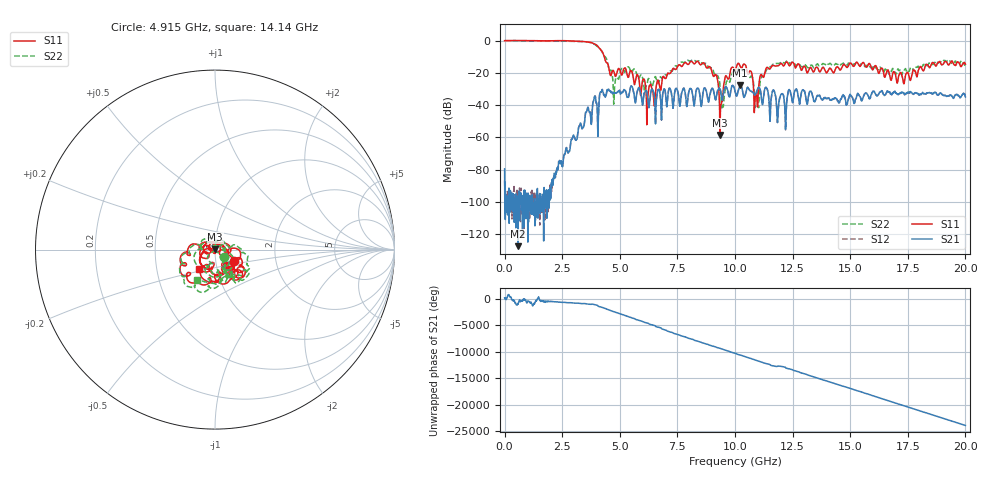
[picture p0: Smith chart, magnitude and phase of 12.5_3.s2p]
#  HZ  S  RI  R  50.00
! Rohde & Schwarz Vector Network Analyzer
! Rohde-Schwarz,ZNB20-2Port,1311601062102128,3.60
! Created: UTC 4/29/2024, 2:56:43 PM
! freq[Hz]  re:S11  im:S11  re:S21  im:S21  re:S12  im:S12  re:S22  im:S22
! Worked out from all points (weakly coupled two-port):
!   2007 points, 100 kHz to 20 GHz, reference 50 ohm
!   highest |S21| = -27.68 dB at 10.23 GHz (marker M1); lowest = -127.6 dB at 588.3 MHz (marker M2)
!   lowest |S11| = -58.5 dB at 9.342 GHz (marker M3), VSWR 1.00, Z = 50.1 + j0.105 ohm
!   |S11| at or under -10 dB: 4.326 GHz to end of sweep
!   |S22| runs from -41.8 to 0.1 dB; largest |S21 - S12| = 0.0021
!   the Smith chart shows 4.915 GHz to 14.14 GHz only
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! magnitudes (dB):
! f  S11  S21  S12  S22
! 100 kHz  0.0  -79.6  -86.9  0.1
! 588.3 MHz  0.0  -127.6  -101.4  0.0
! 2.233 GHz  0.0  -82.9  -83.3  -0.3
! 3.34 GHz  -0.6  -53.8  -53.5  -0.6
! 4.158 GHz  -5.5  -31.9  -31.5  -5.2
! 4.776 GHz  -20.7  -32.4  -32.4  -28.8
! 5.354 GHz  -22.8  -35.2  -35.1  -16.3
! 6.211 GHz  -35.2  -35.8  -35.9  -24.9
! 6.67 GHz  -24.8  -30.3  -30.3  -26.5
! 8.375 GHz  -12.8  -29.5  -29.6  -12.9
! 9.173 GHz  -21.2  -36.3  -36.4  -22.5
! 9.342 GHz  -58.5  -30.1  -30.1  -26.8
! 9.482 GHz  -32.1  -34.2  -34.2  -40.7
! 10 GHz  -18.7  -31.4  -31.4  -19.5
! 10.23 GHz  -16.0  -27.7  -27.7  -16.9
! 10.69 GHz  -19.0  -31.5  -31.5  -22.1
! 10.91 GHz  -33.4  -32.5  -32.6  -36.3
! 11.41 GHz  -16.6  -30.4  -30.5  -17.1
! 11.86 GHz  -15.7  -45.7  -45.8  -14.1
! 13.34 GHz  -18.0  -32.8  -32.9  -15.3
! 16.67 GHz  -19.1  -31.7  -31.8  -20.5
! 20 GHz  -14.6  -34.9  -35.0  -14.4
